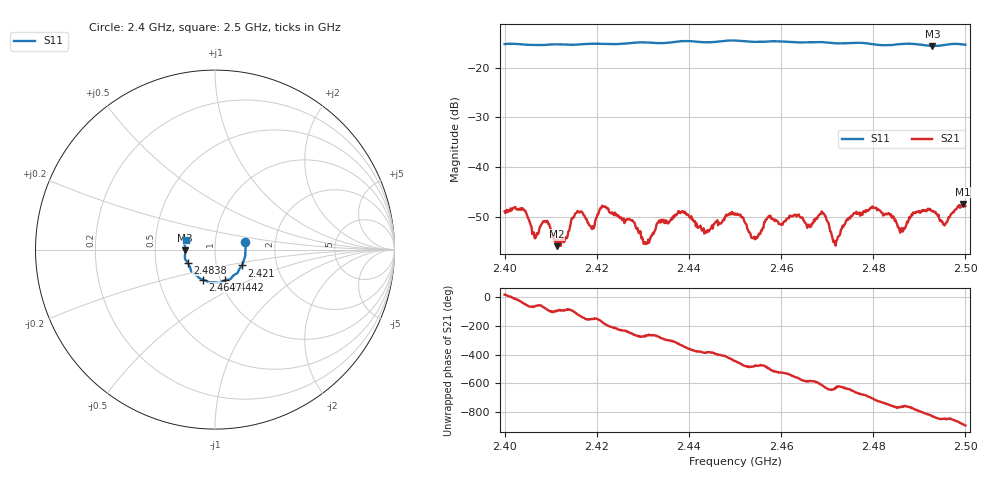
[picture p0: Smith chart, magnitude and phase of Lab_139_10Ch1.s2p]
# Hz S RI R 50
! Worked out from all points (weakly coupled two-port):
!   601 points, 2.4 GHz to 2.5 GHz, reference 50 ohm
!   highest |S21| = -47.45 dB at 2.4995 GHz (marker M1); lowest = -56.0 dB at 2.4113 GHz (marker M2)
!   lowest |S11| = -15.6 dB at 2.4928 GHz (marker M3), VSWR 1.40, Z = 35.8 - j0.364 ohm
!   |S11| at or under -10 dB: start of sweep to end of sweep
!   S12 and S22 are empty: the file has one direction only
!   S11 on the Smith chart (normalised r, x): 2.4 GHz: 1.40, +0.12; 2.421 GHz: 1.33, -0.24; 2.4442 GHz: 1.05, -0.37; 2.4647 GHz: 0.83, -0.29; 2.4838 GHz: 0.73, -0.11; 2.5 GHz: 0.72, +0.08
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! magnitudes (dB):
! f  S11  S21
! 2.4 GHz  -15.2  -48.9
! 2.4113 GHz  -15.3  -56.0
! 2.4167 GHz  -15.3  -48.9
! 2.419 GHz  -15.2  -52.5
! 2.421 GHz  -15.2  -48.3
! 2.4305 GHz  -14.9  -55.1
! 2.4333 GHz  -15.0  -51.2
! 2.4388 GHz  -14.6  -48.9
! 2.4442 GHz  -14.9  -52.7
! 2.45 GHz  -14.5  -49.4
! 2.454 GHz  -14.8  -54.4
! 2.4647 GHz  -14.9  -50.2
! 2.4667 GHz  -14.8  -51.4
! 2.4692 GHz  -14.8  -49.3
! 2.4717 GHz  -15.1  -55.3
! 2.4758 GHz  -15.0  -49.3
! 2.4833 GHz  -15.5  -49.3
! 2.4838 GHz  -15.4  -49.5
! 2.4862 GHz  -15.2  -52.3
! 2.4928 GHz  -15.6  -48.9
! 2.4995 GHz  -15.3  -47.5
! 2.5 GHz  -15.4  -47.9
